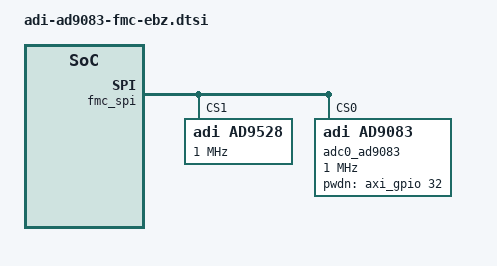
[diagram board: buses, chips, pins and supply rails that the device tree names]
// SPDX-License-Identifier: GPL-2.0
/*
 * Analog Devices ADRV9083-EVB
 *
 * hdl_project: <ad9083_evb>
 * board_revision: <>
 *
 * Copyright (C) 2026 Analog Devices Inc.
 */

#include <dt-bindings/iio/frequency/ad9528.h>
#include <dt-bindings/iio/adc/adi,ad9083.h>
#include <dt-bindings/gpio/gpio.h>
#include <dt-bindings/interrupt-controller/irq.h>

&fmc_spi {
	status = "okay";

	ad9528: ad9528@1 {
		compatible = "adi,ad9528";
		reg = <1>;

		#address-cells = <1>;
		#size-cells = <0>;

		jesd204-device;
		#jesd204-cells = <2>;
		jesd204-sysref-provider;

		spi-max-frequency = <1000000>;
		adi,spi-3wire-enable;

		clock-output-names = "ad9528-1_out0", "ad9528-1_out1", "ad9528-1_out2",
			"ad9528-1_out3", "ad9528-1_out4", "ad9528-1_out5", "ad9528-1_out6",
			"ad9528-1_out7", "ad9528-1_out8", "ad9528-1_out9", "ad9528-1_out10",
			"ad9528-1_out11", "ad9528-1_out12", "ad9528-1_out13";
		#clock-cells = <1>;

		adi,vcxo-freq = <100000000>;

		adi,refa-enable;
		adi,refa-diff-rcv-enable;
		adi,refa-r-div = <1>;
		adi,osc-in-cmos-neg-inp-enable;

		/* SYSREF config */
		adi,sysref-src = <SYSREF_SRC_INTERNAL>;
		adi,sysref-pattern-mode = <SYSREF_PATTERN_NSHOT>;
		adi,sysref-k-div = <256>;
		adi,sysref-nshot-mode = <SYSREF_NSHOT_4_PULSES>;
		adi,sysref-request-trigger-mode = <SYSREF_LEVEL_HIGH>;
		adi,jesd204-max-sysref-frequency-hz = <400000>;

		/* PLL1 config */
		adi,pll1-feedback-src-vcxo;
		adi,pll1-feedback-div = <4>;
		adi,pll1-charge-pump-current-nA = <5000>;
		adi,osc-in-diff-enable;

		/* PLL2 config */
		/*
		 * Valid ranges based on VCO locking range:
		 *   1150.000 MHz - 1341.666 MHz
		 *    862.500 MHz - 1006.250 MHz
		 *    690.000 MHz -  805.000 MHz
		 */

		/* PLL2 config */
		adi,pll2-m1-frequency = <750000000>;
		adi,pll2-charge-pump-current-nA = <805000>;

		adi,rpole2 = <RPOLE2_900_OHM>;
		adi,rzero = <RZERO_1850_OHM>;
		adi,cpole1 = <CPOLE1_16_PF>;

		adi,status-mon-pin0-function-select = <0xFF>; /* No function */
		adi,status-mon-pin1-function-select = <0xFF>; /* No function */

		ad9528_0_c1: channel@1 {
			reg = <1>;
			adi,extended-name = "FPGA_GLBL_CLK";
			adi,driver-mode = <DRIVER_MODE_LVDS>;
			adi,divider-phase = <0>;
			adi,channel-divider = <3>; /* 250 MHz */
			adi,signal-source = <SOURCE_VCO>;
		};

		ad9528_0_c3: channel@3 {
			reg = <3>;
			adi,extended-name = "FPGA_REF_CLK";
			adi,driver-mode = <DRIVER_MODE_LVDS>;
			adi,divider-phase = <0>;
			adi,channel-divider = <1>; /* 750 MHz */
			adi,signal-source = <SOURCE_VCO>;
		};

		ad9528_0_c13: channel@13 {
			reg = <13>;
			adi,extended-name = "ADC_REF_CLK";
			adi,driver-mode = <DRIVER_MODE_LVDS>;
			adi,divider-phase = <0>;
			adi,channel-divider = <3>; /* 250 MHz */
			adi,signal-source = <SOURCE_VCO>;
		};

		ad9528_0_c12: channel@12 {
			reg = <12>;
			adi,extended-name = "DEV_SYSREF";
			adi,driver-mode = <DRIVER_MODE_LVDS>;
			adi,divider-phase = <0>;
			adi,channel-divider = <5>;
			adi,signal-source = <SOURCE_SYSREF_VCO>;
		};

		ad9528_0_c0: channel@0 {
			reg = <0>;
			adi,extended-name = "FMC_SYSREF";
			adi,driver-mode = <DRIVER_MODE_LVDS>;
			adi,divider-phase = <0>;
			adi,channel-divider = <5>;
			adi,signal-source = <SOURCE_SYSREF_VCO>;
		};
	};

	adc0_ad9083: ad9083@0 {
		compatible = "adi,ad9083";
		reg = <0>;

		jesd204-device;
		#jesd204-cells = <2>;
		jesd204-top-device = <0>;
		jesd204-link-ids = <0>;
		jesd204-inputs = <&axi_ad9083_core_rx 0 0>;

		spi-max-frequency = <1000000>;
		clocks = <&ad9528 13>;
		clock-names = "adc_ref_clk";
		adi,adc-frequency-hz= /bits/ 64 <2000000000>; /* 2 GHz */

		/* software reset, resistor is not mounted */
		/* reset-gpios = <&axi_gpio 33 0>; */
		pwdn-gpios = <&axi_gpio 32 0>;

		/* adi_ad9083 config */

		adi,vmax-microvolt = <2000>;
		adi,fc-hz =  /bits/ 64 <800000000>;
		adi,rterm-ohms = <100>;
		adi,backoff = <0>;
		adi,finmax-hz = /bits/ 64 <100000000>;
		adi,nco0_freq-hz = /bits/ 64 <0>;
		adi,nco1_freq-hz = /bits/ 64 <0>;
		adi,nco2_freq-hz = /bits/ 64 <0>;
		adi,cic_decimation = /bits/ 8 <0>;
		adi,j_decimation = /bits/ 8 <AD9083_J_DEC_8>;
		adi,g_decimation = /bits/ 8 <0>;
		adi,h_decimation = /bits/ 8 <0>;
		adi,nco0_datapath_mode = /bits/ 8 <AD9083_DATAPATH_ADC_J>;

		/* JESD204 parameters */

		adi,octets-per-frame = <6>;
		adi,frames-per-multiframe = <32>;
		adi,converter-resolution = <12>;
		adi,bits-per-sample = <12>;
		adi,converters-per-device = <16>;
		adi,control-bits-per-sample = <0>;
		adi,lanes-per-device = <4>;
		adi,subclass = <0>;
	};
};
